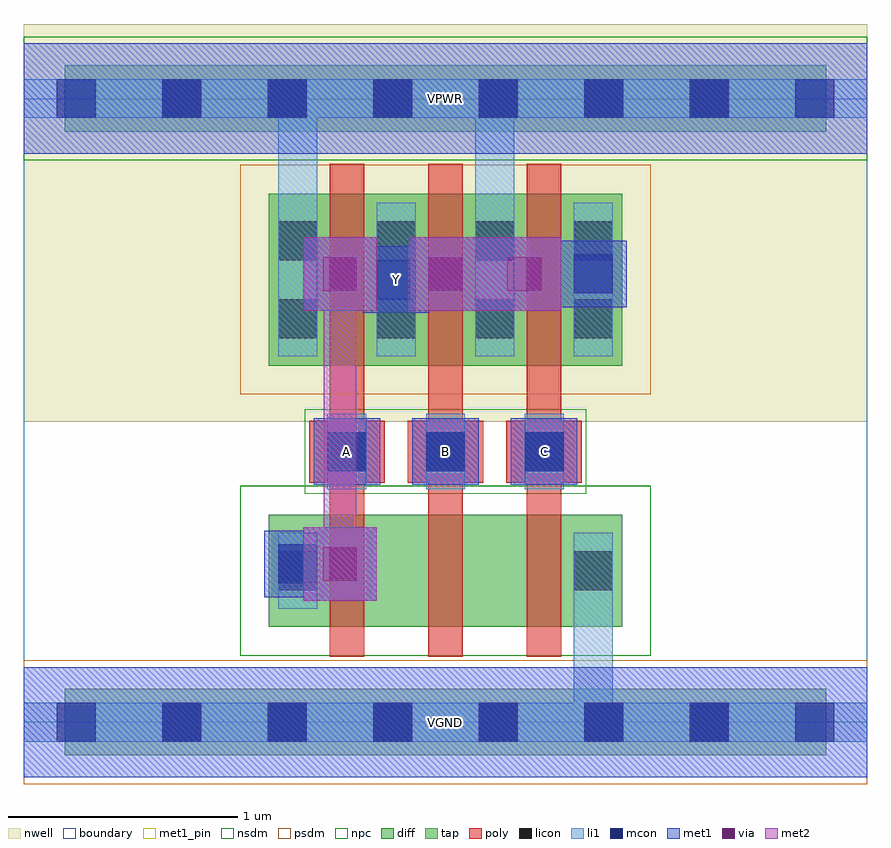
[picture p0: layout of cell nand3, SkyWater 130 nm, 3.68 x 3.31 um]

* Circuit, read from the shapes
.subckt nand3 A B C VGND VPWR Y
XM1 n1 A Y VGND sky130_fd_pr__nfet_01v8 w=0.49 l=0.15
XM2 n2 B n1 VGND sky130_fd_pr__nfet_01v8 w=0.49 l=0.15
XM3 VGND C n2 VGND sky130_fd_pr__nfet_01v8 w=0.49 l=0.15
XM4 Y A VPWR VPWR sky130_fd_pr__pfet_01v8 w=0.75 l=0.15
XM5 VPWR B Y VPWR sky130_fd_pr__pfet_01v8 w=0.75 l=0.15
XM6 Y C VPWR VPWR sky130_fd_pr__pfet_01v8 w=0.75 l=0.15
.ends

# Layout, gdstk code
import gdstk
lib = gdstk.Library(unit=1e-6, precision=1e-09)
def R(c, l, rs):  # rectangles x0, y0, x1, y1
    for r in rs: c.add(gdstk.rectangle(r[:2], r[2:], *l))
def A(c, l, x, y, w, h, nx, ny, dx, dy):  # array of equal rectangles
    R(c, l, [(x+i*dx, y+j*dy, x+i*dx+w, y+j*dy+h) for i in range(nx) for j in range(ny)])
nwell = (64, 20)
diff = (65, 20)
tap = (65, 44)
poly = (66, 20)
licon = (66, 44)
li1 = (67, 20)
mcon = (67, 44)
met1_pin = (68, 16)
met1 = (68, 20)
via = (68, 44)
met2 = (69, 20)
nsdm = (93, 44)
psdm = (94, 20)
npc = (95, 20)
boundary = (235, 4)

nand3 = lib.new_cell('nand3')
R(nand3, nwell, [(0,1.31,3.68,3.045)])
R(nand3, diff, [(1.07,0.415,2.61,0.905), (1.07,1.555,2.61,2.305)])
R(nand3, tap, [(0.18,-0.145,3.5,0.145), (0.18,2.575,3.5,2.865)])
A(nand3, poly, 1.335, 0.285, 0.15, 2.15, 3, 1, 0.43, 0)
A(nand3, poly, 1.245, 1.045, 0.33, 0.27, 3, 1, 0.43, 0)
A(nand3, licon, 0.605, -0.085, 0.17, 0.17, 6, 2, 0.46, 2.72)
A(nand3, licon, 1.325, 1.095, 0.17, 0.17, 3, 1, 0.43, 0)
A(nand3, licon, 1.11, 1.675, 0.17, 0.17, 4, 2, 0.43, 0.34)
R(nand3, licon, [(1.11,0.575,1.28,0.745), (2.4,0.575,2.57,0.745)])
A(nand3, li1, 1.325, 1.015, 0.17, 0.33, 3, 1, 0.43, 0)
A(nand3, li1, 1.11, 1.595, 0.17, 0.67, 4, 1, 0.43, 0)
R(nand3, li1, [(0,-0.085,3.68,0.085), (2.4,-0.085,2.57,0.825), (1.11,0.495,1.28,0.825), (2.4,0.495,2.57,0.825), (1.11,1.595,1.28,2.805), (1.97,1.595,2.14,2.805), (0,2.635,3.68,2.805)])
A(nand3, mcon, 0.145, -0.085, 0.17, 0.17, 8, 2, 0.46, 2.72)
A(nand3, mcon, 1.325, 1.095, 0.17, 0.17, 3, 1, 0.43, 0)
R(nand3, mcon, [(1.11,0.605,1.28,0.775), (1.54,1.845,1.71,2.015), (2.4,1.87,2.57,2.04)])
A(nand3, met1_pin, 1.265, 1.035, 0.29, 0.29, 3, 1, 0.43, 0)
R(nand3, met1_pin, [(0,-0.24,3.68,0.24), (1.48,1.785,1.77,2.075), (0,2.48,3.68,2.96)])
A(nand3, met1, 1.265, 1.035, 0.29, 0.29, 3, 1, 0.43, 0)
R(nand3, met1, [(0,-0.24,3.68,0.24), (1.22,0.53,1.54,0.85), (1.05,0.545,1.34,0.835), (1.125,0.62,1.45,0.76), (1.48,1.785,1.77,2.075), (1.22,1.795,1.54,2.115), (1.68,1.795,2,2.115), (2,1.795,2.025,2.115), (2.025,1.795,2.345,2.115), (2.34,1.81,2.63,2.1), (1.31,1.885,1.68,2.025), (1.54,1.885,1.68,2.025), (1.54,1.885,1.91,2.025), (1.91,1.885,2.025,2.025), (2,1.885,2.115,2.025), (2.115,1.885,2.37,2.025), (2.23,1.885,2.555,2.025), (0,2.48,3.68,2.96)])
R(nand3, via, [(1.305,0.615,1.455,0.765), (1.305,1.88,1.455,2.03), (1.765,1.88,1.915,2.03), (2.11,1.88,2.26,2.03)])
R(nand3, met2, [(1.22,0.53,1.54,0.85), (1.31,0.62,1.45,2.025), (1.22,1.795,1.54,2.115), (1.68,1.795,2,2.115), (2,1.795,2.025,2.115), (2.025,1.795,2.345,2.115), (1.77,1.885,2.255,2.025)])
R(nand3, nsdm, [(0.945,0.29,2.735,1.03), (0,2.45,3.68,2.99)])
R(nand3, psdm, [(0,-0.27,3.68,0.27), (0.945,1.43,2.735,2.43)])
R(nand3, npc, [(1.225,0.995,2.455,1.365)])
R(nand3, boundary, [(0,0,3.68,2.72)])
nand3.add(gdstk.Label('A', (1.41,1.18), layer=68, texttype=5))
nand3.add(gdstk.Label('B', (1.84,1.18), layer=68, texttype=5))
nand3.add(gdstk.Label('C', (2.27,1.18), layer=68, texttype=5))
nand3.add(gdstk.Label('Y', (1.625,1.93), layer=68, texttype=5))
nand3.add(gdstk.Label('VPWR', (1.84,2.72), layer=68, texttype=5))
nand3.add(gdstk.Label('VGND', (1.84,0), layer=68, texttype=5))
nand3.add(gdstk.Label('A', (1.41,1.18), layer=68, texttype=16))
nand3.add(gdstk.Label('B', (1.84,1.18), layer=68, texttype=16))
nand3.add(gdstk.Label('C', (2.27,1.18), layer=68, texttype=16))
nand3.add(gdstk.Label('Y', (1.625,1.93), layer=68, texttype=16))
nand3.add(gdstk.Label('VPWR', (1.84,2.72), layer=68, texttype=16))
nand3.add(gdstk.Label('VGND', (1.84,0), layer=68, texttype=16))

lib.write_gds('nand3.gds')
